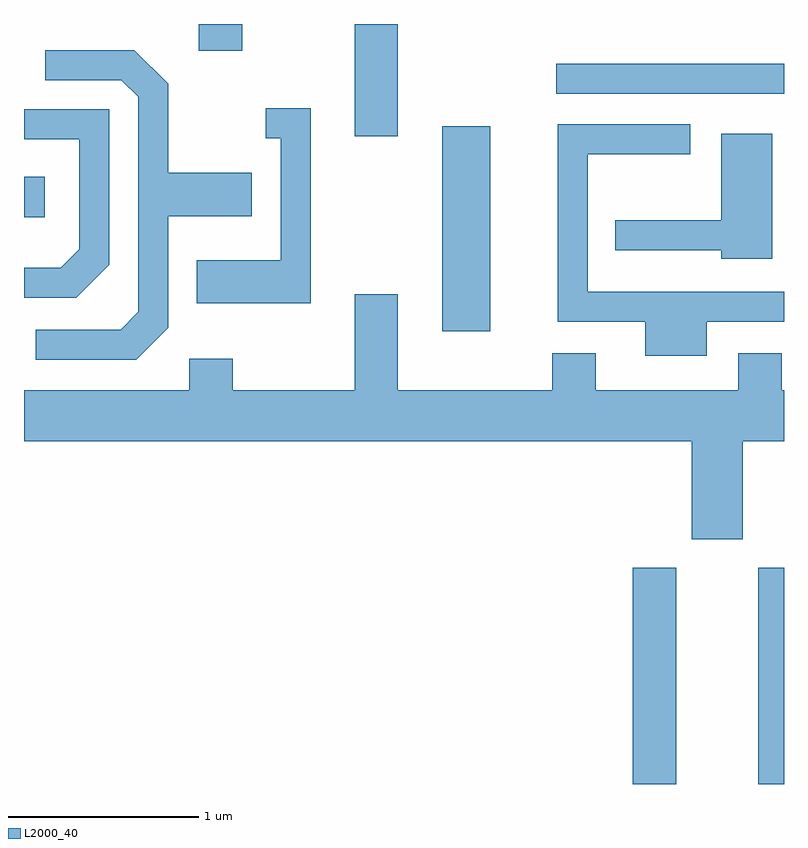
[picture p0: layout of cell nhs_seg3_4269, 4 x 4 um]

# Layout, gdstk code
import gdstk
lib = gdstk.Library(unit=1e-6, precision=1e-09)
def R(c, l, rs):  # rectangles x0, y0, x1, y1
    for r in rs: c.add(gdstk.rectangle(r[:2], r[2:], *l))
def P(c, l, *ps):  # polygons
    for p in ps: c.add(gdstk.Polygon(p, *l))
L2000_40 = (2000, 40)

nhs_seg3_4269 = lib.new_cell('nhs_seg3_4269')
R(nhs_seg3_4269, L2000_40, [(312.816,1221.892,313.044,1223.029), (313.476,1221.892,313.611,1223.029), (311.811,1224.276,312.064,1225.354), (309.611,1224.876,309.719,1225.089), (311.351,1225.301,311.579,1225.892), (312.413,1225.526,313.611,1225.684), (310.531,1225.751,310.759,1225.892)])
P(nhs_seg3_4269, L2000_40, [(310.369,1224.294),(310.369,1224.881),(310.809,1224.881),(310.809,1225.109),(310.369,1225.109),(310.369,1225.577),(310.192,1225.754),(309.723,1225.754),(309.723,1225.596),(310.124,1225.596),(310.211,1225.509),(310.211,1224.377),(310.119,1224.284),(309.673,1224.284),(309.673,1224.126),(310.202,1224.126)],
  [(311.119,1225.449),(310.883,1225.449),(310.883,1225.291),(310.961,1225.291),(310.961,1224.649),(310.521,1224.649),(310.521,1224.421),(311.119,1224.421)],
  [(310.059,1224.624),(310.059,1225.444),(309.611,1225.444),(309.611,1225.286),(309.901,1225.286),(309.901,1224.707),(309.804,1224.609),(309.611,1224.609),(309.611,1224.451),(309.887,1224.451)],
  [(313.204,1224.326),(313.611,1224.326),(313.611,1224.484),(312.579,1224.484),(312.579,1225.206),(313.118,1225.206),(313.118,1225.364),(312.421,1225.364),(312.421,1224.326),(312.881,1224.326),(312.881,1224.146),(313.204,1224.146)],
  [(313.549,1225.314),(313.281,1225.314),(313.281,1224.859),(312.723,1224.859),(312.723,1224.701),(313.281,1224.701),(313.281,1224.656),(313.549,1224.656)],
  [(313.394,1223.696),(313.611,1223.696),(313.611,1223.964),(313.599,1223.964),(313.599,1224.159),(313.371,1224.159),(313.371,1223.964),(312.619,1223.964),(312.619,1224.159),(312.391,1224.159),(312.391,1223.964),(311.579,1223.964),(311.579,1224.469),(311.351,1224.469),(311.351,1223.964),(310.709,1223.964),(310.709,1224.129),(310.481,1224.129),(310.481,1223.964),(309.611,1223.964),(309.611,1223.696),(313.126,1223.696),(313.126,1223.181),(313.394,1223.181)])

lib.write_gds('nhs_seg3_4269.gds')
